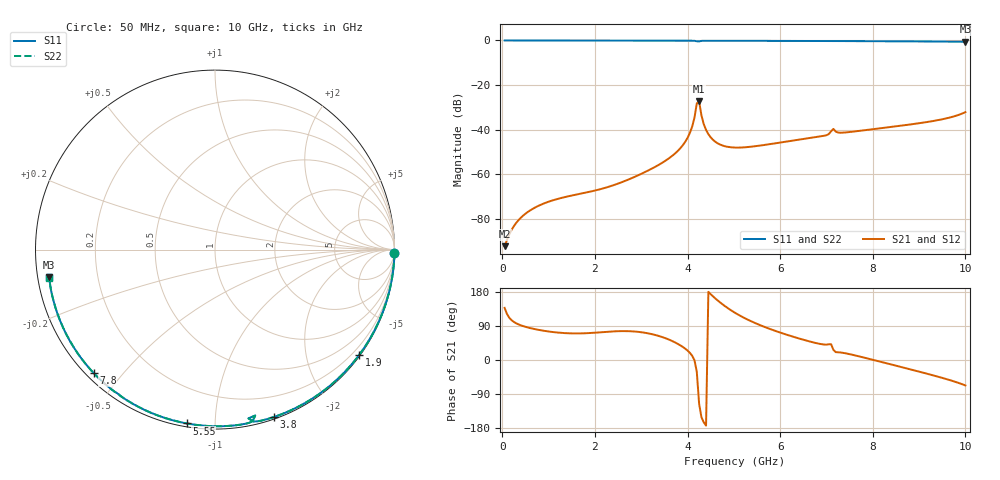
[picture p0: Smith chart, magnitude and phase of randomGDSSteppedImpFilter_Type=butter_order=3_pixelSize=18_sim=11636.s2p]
! freq	dB(S11)	phase(S11)	dB(S12)	phase(S12)
!  dB(S21)	phase(S21)	dB(S22)	phase(S22)
!S-par simulation data
#  GHz  S  DB  R 50
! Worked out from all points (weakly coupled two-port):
!   200 points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, 50 MHz to 10 GHz, reference 50 ohm
!   highest |S21| = -27.25 dB at 4.25 GHz (marker M1); lowest = -92.1 dB at 50 MHz (marker M2)
!   lowest |S11| = -0.6 dB at 10 GHz (marker M3), VSWR 30.27, Z = 1.66 - j4.12 ohm
!   |S11| at or under -10 dB: nowhere
!   |S22| runs from -0.6 to 0.0 dB; largest |S21 - S12| = 0
!   S11 on the Smith chart (normalised r, x): 50 MHz: open; 1.9 GHz: 0.03, -3.06; 3.8 GHz: 0.02, -1.41; 5.55 GHz: 0.02, -0.85; 7.8 GHz: 0.02, -0.42; 10 GHz: 0.03, -0.08
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0.05  -0.00 -1.0  -92.11 137.5  -92.11 137.5  -0.00 -1.0
0.35  -0.00 -6.8  -80.46 94.0  -80.46 94.0  -0.00 -6.8
0.9  -0.02 -17.4  -72.97 77.0  -72.97 77.0  -0.02 -17.4
1.75  -0.04 -33.4  -68.36 70.4  -68.36 70.4  -0.04 -33.4
1.9  -0.05 -36.2  -67.69 71.2  -67.69 71.2  -0.05 -36.2
3.4  -0.08 -63.4  -55.44 62.7  -55.44 62.7  -0.08 -63.4
3.8  -0.10 -70.5  -49.25 41.9  -49.25 41.9  -0.10 -70.5
4.05  -0.11 -75.1  -41.43 19.0  -41.43 19.0  -0.11 -75.0
4.15  -0.16 -77.4  -34.54 -0.7  -34.54 -0.7  -0.16 -77.3
4.2  -0.37 -78.8  -28.20 -31.1  -28.20 -31.1  -0.36 -78.7
4.25  -0.44 -76.4  -27.25 -115.5  -27.25 -115.5  -0.43 -76.4
4.35  -0.14 -78.9  -37.46 -164.4  -37.46 -164.4  -0.14 -78.9
4.5  -0.13 -81.8  -43.39 173.6  -43.39 173.6  -0.13 -81.8
4.7  -0.13 -85.3  -46.59 152.2  -46.59 152.2  -0.13 -85.2
5.05  -0.14 -91.1  -47.98 122.8  -47.98 122.8  -0.14 -91.1
5.55  -0.16 -99.3  -47.12 92.8  -47.12 92.8  -0.16 -99.2
6.7  -0.23 -117.5  -43.49 46.9  -43.49 46.9  -0.23 -117.4
7.15  -0.28 -124.4  -39.62 26.8  -39.62 26.8  -0.28 -124.3
7.3  -0.27 -126.8  -41.32 19.9  -41.32 19.9  -0.27 -126.7
7.8  -0.32 -134.6  -40.26 6.7  -40.26 6.7  -0.31 -134.5
8.35  -0.37 -143.2  -38.84 -10.2  -38.84 -10.2  -0.37 -143.1
10  -0.57 -170.6  -32.10 -67.2  -32.10 -67.2  -0.57 -170.4
